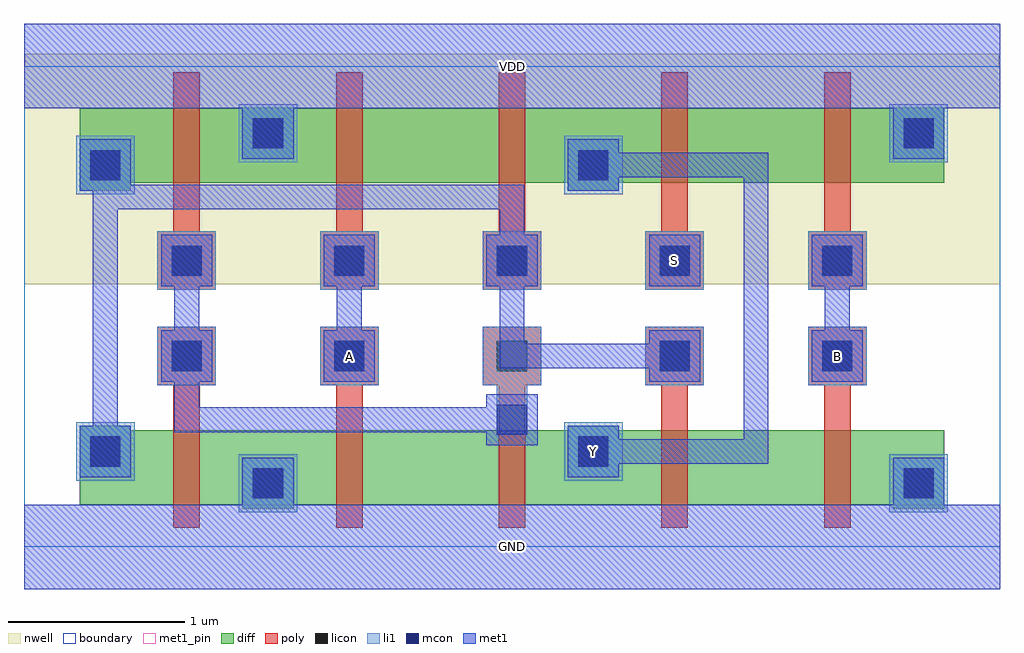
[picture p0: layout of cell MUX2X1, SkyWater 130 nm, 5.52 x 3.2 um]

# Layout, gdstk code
import gdstk
lib = gdstk.Library(unit=1e-6, precision=1e-09)
def R(c, l, rs):  # rectangles x0, y0, x1, y1
    for r in rs: c.add(gdstk.rectangle(r[:2], r[2:], *l))
def A(c, l, x, y, w, h, nx, ny, dx, dy):  # array of equal rectangles
    R(c, l, [(x+i*dx, y+j*dy, x+i*dx+w, y+j*dy+h) for i in range(nx) for j in range(ny)])
def P(c, l, *ps):  # polygons
    for p in ps: c.add(gdstk.Polygon(p, *l))
nwell = (64, 20)
diff = (65, 20)
poly = (66, 20)
licon = (66, 44)
li1 = (67, 20)
mcon = (67, 44)
met1_pin = (68, 16)
met1 = (68, 20)
boundary = (235, 4)

mux2x1 = lib.new_cell('MUX2X1')
P(mux2x1, nwell, [(0,1.485),(0,2.72),(0.005,2.72),(0.005,2.79),(5.515,2.79),(5.515,2.72),(5.52,2.72),(5.52,1.485)])
P(mux2x1, diff, [(1.235,0.215),(1.235,0.24),(0.315,0.24),(0.315,0.685),(0.605,0.685),(0.605,0.66),(3.075,0.66),(3.075,0.685),(3.365,0.685),(3.365,0.66),(5.205,0.66),(5.205,0.215),(4.915,0.215),(4.915,0.24),(1.525,0.24),(1.525,0.215)],
  [(0.315,2.015),(0.315,2.48),(1.235,2.48),(1.235,2.485),(1.525,2.485),(1.525,2.48),(4.915,2.48),(4.915,2.485),(5.205,2.485),(5.205,2.06),(3.365,2.06),(3.365,2.015),(3.075,2.015),(3.075,2.06),(0.605,2.06),(0.605,2.015)])
P(mux2x1, poly, [(0.845,0.11),(0.845,0.915),(0.755,0.915),(0.755,1.245),(1.085,1.245),(1.085,0.915),(0.995,0.915),(0.995,0.11)],
  [(1.765,0.11),(1.765,0.915),(1.675,0.915),(1.675,1.245),(2.005,1.245),(2.005,0.915),(1.915,0.915),(1.915,0.11)],
  [(2.685,0.11),(2.685,0.915),(2.595,0.915),(2.595,1.245),(2.925,1.245),(2.925,0.915),(2.835,0.915),(2.835,0.11)],
  [(3.605,0.11),(3.605,0.915),(3.515,0.915),(3.515,1.245),(3.845,1.245),(3.845,0.915),(3.755,0.915),(3.755,0.11)],
  [(4.525,0.11),(4.525,0.915),(4.435,0.915),(4.435,1.245),(4.765,1.245),(4.765,0.915),(4.675,0.915),(4.675,0.11)],
  [(0.755,1.455),(0.755,1.785),(0.845,1.785),(0.845,2.685),(0.995,2.685),(0.995,1.785),(1.085,1.785),(1.085,1.455)],
  [(1.675,1.455),(1.675,1.785),(1.765,1.785),(1.765,2.685),(1.915,2.685),(1.915,1.785),(2.005,1.785),(2.005,1.455)],
  [(2.595,1.455),(2.595,1.785),(2.685,1.785),(2.685,2.685),(2.835,2.685),(2.835,1.785),(2.925,1.785),(2.925,1.455)],
  [(3.515,1.455),(3.515,1.785),(3.605,1.785),(3.605,2.685),(3.755,2.685),(3.755,1.785),(3.845,1.785),(3.845,1.455)],
  [(4.435,1.455),(4.435,1.785),(4.525,1.785),(4.525,2.685),(4.675,2.685),(4.675,1.785),(4.765,1.785),(4.765,1.455)])
A(mux2x1, licon, 0.835, 0.995, 0.17, 0.17, 5, 2, 0.92, 0.54)
R(mux2x1, licon, [(1.295,0.275,1.465,0.445), (4.975,0.275,5.145,0.445), (0.375,0.455,0.545,0.625), (3.135,0.455,3.305,0.625), (0.375,2.075,0.545,2.245), (3.135,2.075,3.305,2.245), (1.295,2.255,1.465,2.425), (4.975,2.255,5.145,2.425)])
A(mux2x1, li1, 0.755, 1.455, 0.33, 0.33, 5, 1, 0.92, 0)
R(mux2x1, li1, [(1.215,0.195,1.545,0.525), (4.895,0.195,5.225,0.525), (0.295,0.375,0.625,0.705), (3.055,0.375,3.385,0.705), (0.755,0.915,1.085,1.245), (1.675,0.915,2.005,1.245), (3.515,0.915,3.845,1.245), (4.435,0.915,4.765,1.245), (0.295,1.995,0.625,2.325), (3.055,1.995,3.385,2.325), (1.215,2.175,1.545,2.505), (4.895,2.175,5.225,2.505)])
P(mux2x1, li1, [(2.675,0.635),(2.675,0.915),(2.595,0.915),(2.595,1.245),(2.925,1.245),(2.925,0.915),(2.845,0.915),(2.845,0.635)])
A(mux2x1, mcon, 0.835, 1.535, 0.17, 0.17, 5, 1, 0.92, 0)
R(mux2x1, mcon, [(1.295,0.275,1.465,0.445), (4.975,0.275,5.145,0.445), (0.375,0.455,0.545,0.625), (3.135,0.455,3.305,0.625), (2.675,0.635,2.845,0.805), (0.835,0.995,1.005,1.165), (1.755,0.995,1.925,1.165), (3.595,0.995,3.765,1.165), (4.515,0.995,4.685,1.165), (0.375,2.075,0.545,2.245), (3.135,2.075,3.305,2.245), (1.295,2.255,1.465,2.425), (4.975,2.255,5.145,2.425)])
R(mux2x1, met1_pin, [(0,-0.24,5.52,0.24), (3.535,1.475,3.825,1.765), (0,2.48,5.52,2.96)])
P(mux2x1, met1_pin, [(3.075,0.395),(3.075,0.685),(3.365,0.685),(3.365,0.61),(4.07,0.61),(4.07,2.09),(3.365,2.09),(3.365,2.015),(3.075,2.015),(3.075,2.305),(3.365,2.305),(3.365,2.23),(4.21,2.23),(4.21,0.47),(3.365,0.47),(3.365,0.395)],
  [(1.695,0.935),(1.695,1.225),(1.77,1.225),(1.77,1.475),(1.695,1.475),(1.695,1.765),(1.985,1.765),(1.985,1.475),(1.91,1.475),(1.91,1.225),(1.985,1.225),(1.985,0.935)],
  [(4.455,0.935),(4.455,1.225),(4.53,1.225),(4.53,1.475),(4.455,1.475),(4.455,1.765),(4.745,1.765),(4.745,1.475),(4.67,1.475),(4.67,1.225),(4.745,1.225),(4.745,0.935)])
R(mux2x1, met1, [(3.535,1.475,3.825,1.765)])
P(mux2x1, met1, [(0,-0.24),(0,0.24),(1.235,0.24),(1.235,0.505),(1.525,0.505),(1.525,0.24),(4.915,0.24),(4.915,0.505),(5.205,0.505),(5.205,0.24),(5.52,0.24),(5.52,-0.24)],
  [(2.615,0.575),(2.615,0.65),(0.85,0.65),(0.85,0.935),(0.775,0.935),(0.775,1.225),(0.85,1.225),(0.85,1.475),(0.775,1.475),(0.775,1.765),(1.065,1.765),(1.065,1.475),(0.99,1.475),(0.99,1.225),(1.065,1.225),(1.065,0.935),(0.99,0.935),(0.99,0.79),(2.615,0.79),(2.615,0.865),(2.905,0.865),(2.905,0.575)],
  [(1.695,0.935),(1.695,1.225),(1.77,1.225),(1.77,1.475),(1.695,1.475),(1.695,1.765),(1.985,1.765),(1.985,1.475),(1.91,1.475),(1.91,1.225),(1.985,1.225),(1.985,0.935)],
  [(4.455,0.935),(4.455,1.225),(4.53,1.225),(4.53,1.475),(4.455,1.475),(4.455,1.765),(4.745,1.765),(4.745,1.475),(4.67,1.475),(4.67,1.225),(4.745,1.225),(4.745,0.935)],
  [(0.315,0.395),(0.315,0.685),(0.39,0.685),(0.39,2.015),(0.315,2.015),(0.315,2.305),(0.605,2.305),(0.605,2.05),(2.83,2.05),(2.83,1.765),(2.905,1.765),(2.905,1.475),(2.83,1.475),(2.83,1.15),(3.535,1.15),(3.535,1.225),(3.825,1.225),(3.825,0.935),(3.535,0.935),(3.535,1.01),(2.69,1.01),(2.69,1.475),(2.615,1.475),(2.615,1.765),(2.69,1.765),(2.69,1.91),(0.53,1.91),(0.53,0.685),(0.605,0.685),(0.605,0.395)],
  [(3.075,0.395),(3.075,0.685),(3.365,0.685),(3.365,0.61),(4.07,0.61),(4.07,2.09),(3.365,2.09),(3.365,2.015),(3.075,2.015),(3.075,2.305),(3.365,2.305),(3.365,2.23),(4.21,2.23),(4.21,0.47),(3.365,0.47),(3.365,0.395)],
  [(1.235,2.195),(1.235,2.48),(0,2.48),(0,2.96),(5.52,2.96),(5.52,2.48),(5.205,2.48),(5.205,2.195),(4.915,2.195),(4.915,2.48),(1.525,2.48),(1.525,2.195)])
R(mux2x1, boundary, [(0,0,5.52,2.72)])
mux2x1.add(gdstk.Label('Y', (3.22,0.54), layer=68, texttype=5))
mux2x1.add(gdstk.Label('A', (1.84,1.08), layer=68, texttype=5))
mux2x1.add(gdstk.Label('S', (3.68,1.62), layer=68, texttype=5))
mux2x1.add(gdstk.Label('B', (4.6,1.08), layer=68, texttype=5))
mux2x1.add(gdstk.Label('GND', (2.76,0), layer=68, texttype=5))
mux2x1.add(gdstk.Label('VDD', (2.76,2.72), layer=68, texttype=5))

lib.write_gds('MUX2X1.gds')
